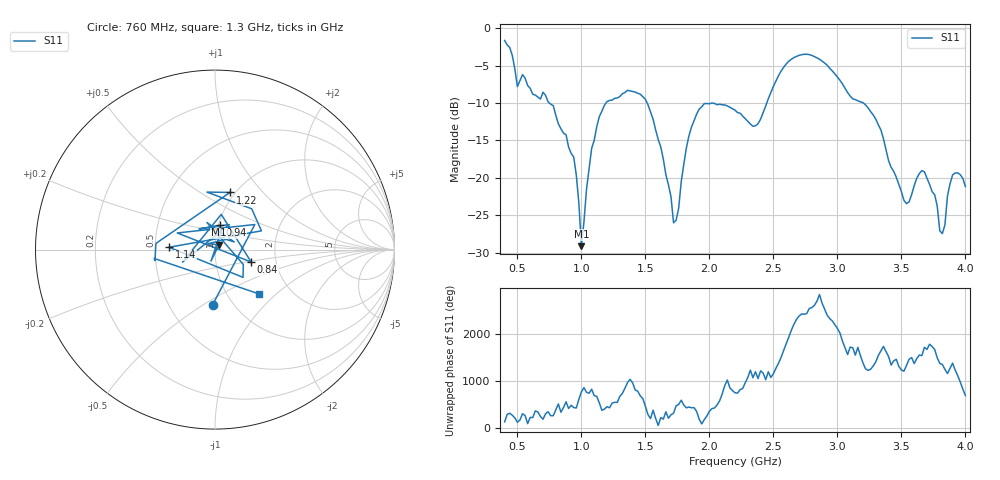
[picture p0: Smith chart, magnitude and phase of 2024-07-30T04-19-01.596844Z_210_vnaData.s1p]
!Created with skrf (http://scikit-rf.org).
# Hz S RI R 50.0
!freq ReS11 ImS11
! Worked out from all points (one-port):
!   181 points, 400 MHz to 4 GHz, reference 50 ohm
!   lowest |S11| = -29.1 dB at 1 GHz (marker M1), VSWR 1.07, Z = 52.2 + j2.81 ohm
!   |S11| at or under -10 dB: 750.2 MHz to 1.192 GHz (441.7 MHz wide, 45.5 % of centre); 1.514 GHz to 2.019 GHz (505 MHz wide, 28.6 % of centre); 3.204 GHz to end of sweep (the widest 3 of 4)
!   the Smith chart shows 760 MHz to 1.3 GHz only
!   S11 on the Smith chart (normalised r, x): 760 MHz: 0.80, -0.55; 840 MHz: 1.49, -0.22; 940 MHz: 1.02, +0.28; 1.14 GHz: 0.59, +0.02; 1.22 GHz: 0.95, +0.68; 1.3 GHz: 1.40, -0.79
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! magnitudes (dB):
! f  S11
! 400 MHz  -1.6
! 500 MHz  -7.8
! 760 MHz  -10.2
! 840 MHz  -13.4
! 860 MHz  -14.0
! 940 MHz  -17.2
! 1 GHz  -29.1
! 1.08 GHz  -16.1
! 1.14 GHz  -11.8
! 1.22 GHz  -9.6
! 1.3 GHz  -9.1
! 1.5 GHz  -9.5
! 1.62 GHz  -15.9
! 1.72 GHz  -26.0
! 1.76 GHz  -24.0
! 1.82 GHz  -16.0
! 1.92 GHz  -10.8
! 2.2 GHz  -10.9
! 2.38 GHz  -12.8
! 2.66 GHz  -3.9
! 2.86 GHz  -4.1
! 3.1 GHz  -9.1
! 3.3 GHz  -12.2
! 3.56 GHz  -23.2
! 3.68 GHz  -19.2
! 3.82 GHz  -27.4
! 3.9 GHz  -19.6
! 4 GHz  -21.2
